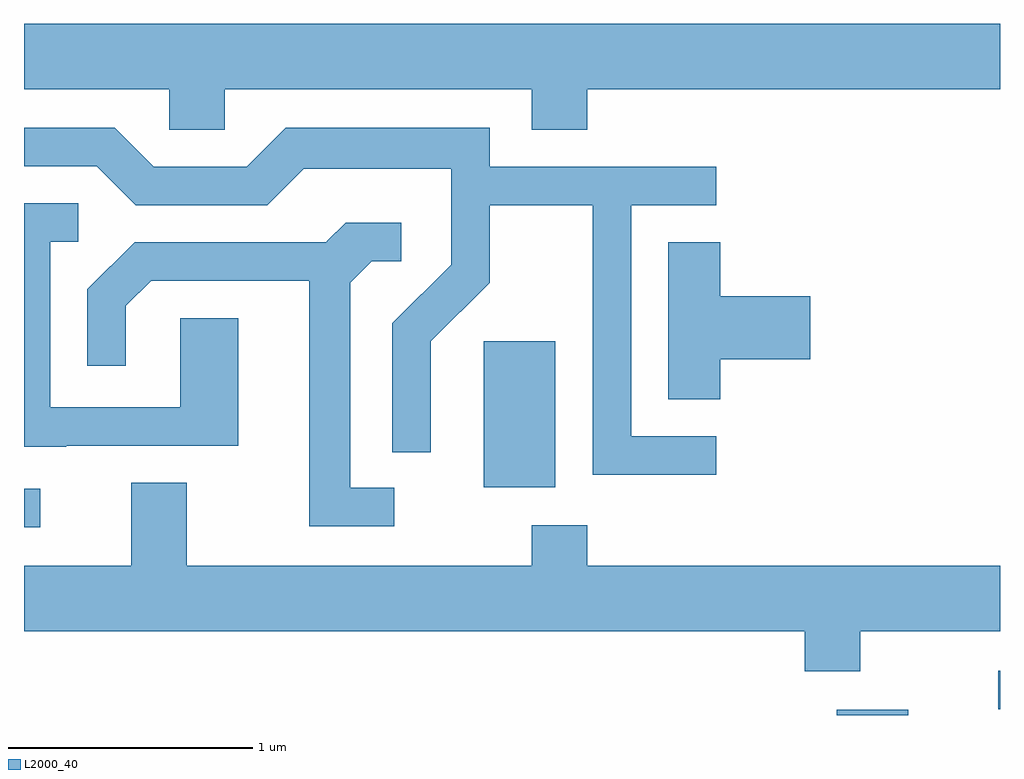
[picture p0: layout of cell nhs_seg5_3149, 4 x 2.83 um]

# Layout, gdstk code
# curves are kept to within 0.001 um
import gdstk
lib = gdstk.Library(unit=1e-6, precision=1e-09)
def R(c, l, rs):  # rectangles x0, y0, x1, y1
    for r in rs: c.add(gdstk.rectangle(r[:2], r[2:], *l))
def P(c, l, *ps):  # polygons
    for p in ps: c.add(gdstk.Polygon(p, *l))
L2000_40 = (2000, 40)

nhs_seg5_3149 = lib.new_cell('nhs_seg5_3149')
R(nhs_seg5_3149, L2000_40, [(282.941,1392.072,283.234,1392.094), (283.603,1392.096,283.611,1392.254), (279.611,1392.841,279.678,1392.999), (281.496,1393.006,281.789,1393.604)])
P(nhs_seg5_3149, L2000_40, [(280.434,1394.636),(281.691,1394.636),(281.691,1394.471),(281.919,1394.471),(281.919,1394.636),(283.611,1394.636),(283.611,1394.904),(279.611,1394.904),(279.611,1394.636),(280.206,1394.636),(280.206,1394.471),(280.434,1394.471)],
  [(282.448,1393.214),(282.099,1393.214),(282.099,1394.161),(282.448,1394.161),(282.448,1394.319),(281.519,1394.319),(281.519,1394.479),(280.684,1394.479),(280.524,1394.319),(280.142,1394.319),(279.982,1394.479),(279.611,1394.479),(279.611,1394.321),(279.909,1394.321),(280.069,1394.161),(280.607,1394.161),(280.757,1394.311),(281.361,1394.311),(281.361,1393.917),(281.121,1393.677),(281.121,1393.148),(281.279,1393.148),(281.279,1393.604),(281.519,1393.844),(281.519,1394.161),(281.941,1394.161),(281.941,1393.056),(282.448,1393.056)],
  [(279.785,1393.176),(280.489,1393.176),(280.489,1393.699),(280.251,1393.699),(280.251,1393.334),(279.719,1393.334),(279.719,1394.011),(279.833,1394.011),(279.833,1394.169),(279.611,1394.169),(279.611,1393.171),(279.785,1393.171)],
  [(281.128,1393.004),(280.949,1393.004),(280.949,1393.844),(281.037,1393.931),(281.158,1393.931),(281.158,1394.089),(280.929,1394.089),(280.849,1394.009),(280.064,1394.009),(279.871,1393.817),(279.871,1393.503),(280.029,1393.503),(280.029,1393.749),(280.132,1393.851),(280.781,1393.851),(280.781,1392.846),(281.128,1392.846)],
  [(282.464,1393.531),(282.834,1393.531),(282.834,1393.789),(282.464,1393.789),(282.464,1394.009),(282.251,1394.009),(282.251,1393.366),(282.464,1393.366)],
  [(283.039,1392.416),(283.611,1392.416),(283.611,1392.684),(281.919,1392.684),(281.919,1392.849),(281.691,1392.849),(281.691,1392.684),(280.279,1392.684),(280.279,1393.024),(280.051,1393.024),(280.051,1392.684),(279.611,1392.684),(279.611,1392.416),(282.811,1392.416),(282.811,1392.251),(283.039,1392.251)])

lib.write_gds('nhs_seg5_3149.gds')
